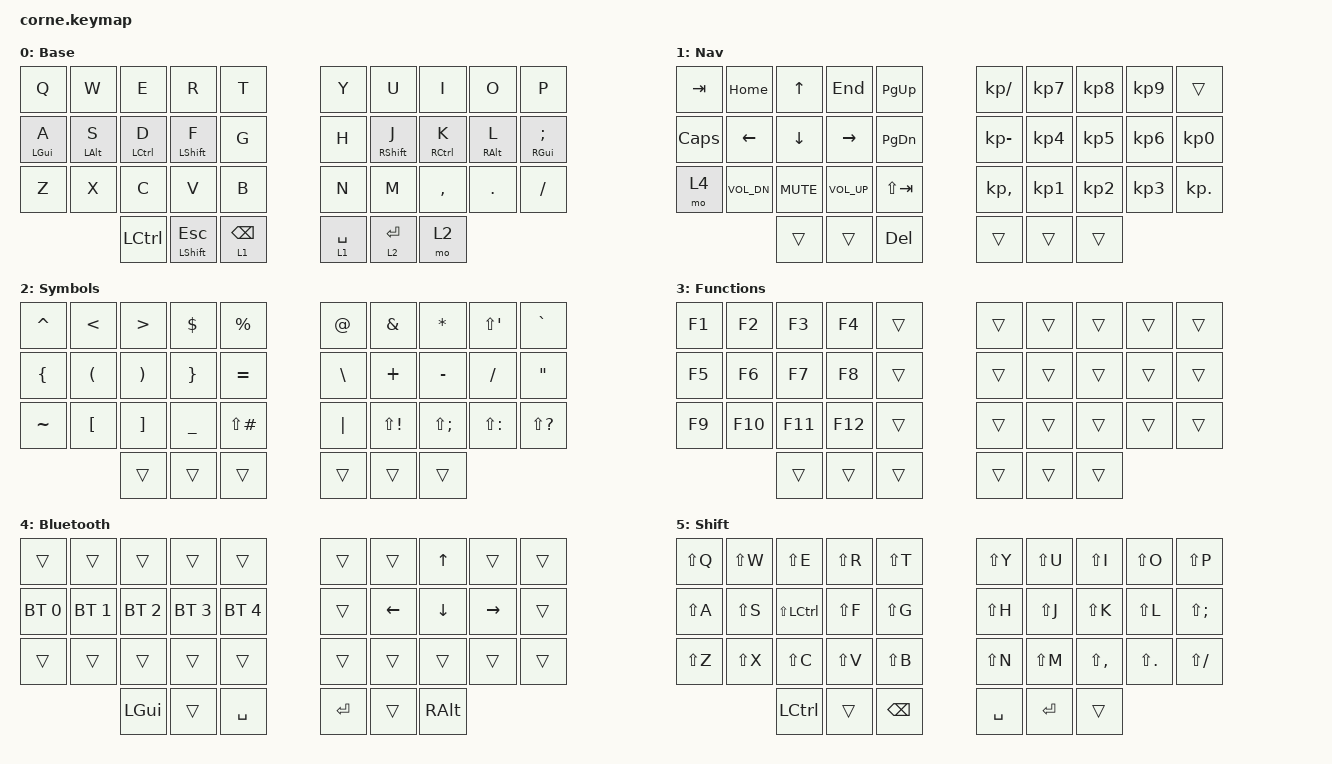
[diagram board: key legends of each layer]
/*
 * Copyright (c) 2020 The ZMK Contributors
 *
 * SPDX-License-Identifier: MIT
 */

#include <behaviors.dtsi>
#include <dt-bindings/zmk/bt.h>
#include <dt-bindings/zmk/keys.h>
#include "zmk-helpers/key-labels/36.h"                                      // Source key-labels.

/ {
    chosen {
      zmk,matrix_transform = &five_column_transform;
    };
    
    #define XXX &none
    #define ___ &trans
    #define KEYS_L LT0 LT1 LT2 LT3 LT4 LM0 LM1 LM2 LM3 LM4 LB0 LB1 LB2 LB3 LB4  // Left-hand keys.
    #define KEYS_R RT0 RT1 RT2 RT3 RT4 RM0 RM1 RM2 RM3 RM4 RB0 RB1 RB2 RB3 RB4  // Right-hand keys.
    #define THUMBS LH2 LH1 LH0 RH0 RH1 RH2                                      // Thumb keys.
    
/* Left-hand HRMs. */
ZMK_HOLD_TAP(hml,
    flavor = "balanced";
    tapping-term-ms = <280>;
    quick-tap-ms = <175>;
    require-prior-idle-ms = <150>;
    bindings = <&kp>, <&kp>;
    hold-trigger-key-positions = <KEYS_R THUMBS>;
    hold-trigger-on-release;
)

/* Right-hand HRMs. */
ZMK_HOLD_TAP(hmr,
    flavor = "balanced";
    tapping-term-ms = <280>;
    quick-tap-ms = <175>;
    require-prior-idle-ms = <150>;
    bindings = <&kp>, <&kp>;
    hold-trigger-key-positions = <KEYS_L THUMBS>;
    hold-trigger-on-release;
)

    behaviors {
        bhm: balanced_homerow_mods {
            compatible = "zmk,behavior-hold-tap";
            #binding-cells = <2>;
            tapping-term-ms = <200>;    // <---[[moderate duration]]
            quick-tap-ms = <0>;
            flavor = "balanced";
            bindings = <&kp>, <&kp>;
        };
    };

// Left-hand home row mods
#define HOME_A &hml LGUI A
#define HOME_S &hml LALT S
#define HOME_D &hml LCTRL D
#define HOME_F &hml LSHIFT F    // if used

// Right-hand home row mods
#define HOME_J &hmr RSHIFT J    // if used
#define HOME_K &hmr RCTRL K
#define HOME_L &hmr RALT L 
#define HOME_SMCLN &hmr RGUI SEMICOLON

// Left-hand thumbs
#define L_THUMB1 &kp LCTRL
#define L_THUMB2 &bhm LSHIFT ESC
#define L_THUMB3 &lt 1 BSPC

// Right-hand thumbs
#define R_THUMB1 &lt 1 SPACE
#define R_THUMB2 &lt 2 RET
#define R_THUMB3 &mo 2


        keymap {
                compatible = "zmk,keymap";

                default_layer {    // ---Layer 0---
                        display-name = "Base";
                        bindings = <
//╭─────────────┬─────────────┬─────────────┬─────────────┬─────────────╮ ╭─────────────┬─────────────┬─────────────┬─────────────┬─────────────╮
    &kp Q         &kp W         &kp E         &kp R         &kp T           &kp Y         &kp U         &kp I         &kp O         &kp P        
//├─────────────┼─────────────┼─────────────┼─────────────┼─────────────┤ ├─────────────┼─────────────┼─────────────┼─────────────┼─────────────┤
    HOME_A        HOME_S        HOME_D        HOME_F        &kp G           &kp H         HOME_J        HOME_K        HOME_L        HOME_SMCLN
//├─────────────┼─────────────┼─────────────┼─────────────┼─────────────┤ ├─────────────┼─────────────┼─────────────┼─────────────┼─────────────┤
    &kp Z         &kp X         &kp C         &kp V         &kp B           &kp N         &kp M         &kp COMMA     &kp DOT       &kp SLASH
//╰─────────────┼─────────────┴─────────────┼─────────────┼─────────────┤ ├─────────────┼─────────────┼─────────────┴───────────────────────────╯
                                L_THUMB1      L_THUMB2      L_THUMB3        R_THUMB1      R_THUMB2      R_THUMB3
//                            ╰─────────────┴─────────────┴─────────────╯ ╰─────────────┴─────────────┴─────────────╯
                        >;
                };

                nav_layer {    // ---Layer 1---
                        display-name = "Nav";
                        bindings = <
//╭─────────────┬─────────────┬─────────────┬─────────────┬─────────────╮ ╭─────────────┬─────────────┬─────────────┬─────────────┬─────────────╮
    &kp TAB       &kp HOME      &kp UP        &kp END       &kp PAGE_UP     &kp KP_DIVIDE &kp KP_N7     &kp KP_N8    &kp KP_N9      ___       
//├─────────────┼─────────────┼─────────────┼─────────────┼─────────────┤ ├─────────────┼─────────────┼─────────────┼─────────────┼─────────────┤
    &kp CAPS      &kp LEFT      &kp DOWN      &kp RIGHT     &kp PAGE_DOWN   &kp KP_SUBTRACT &kp KP_N4   &kp KP_N5     &kp KP_N6  &kp KP_N0     
//├─────────────┼─────────────┼─────────────┼─────────────┼─────────────┤ ├─────────────┼─────────────┼─────────────┼─────────────┼─────────────┤
    &mo 4         &kp K_VOL_DN  &kp K_MUTE    &kp K_VOL_UP  &kp LS(TAB)     &kp KP_COMMA  &kp KP_N1     &kp KP_N2     &kp KP_N3     &kp KP_DOT    
//╰─────────────┼─────────────┴─────────────┼─────────────┼─────────────┤ ├─────────────┼─────────────┼─────────────┴───────────────────────────╯
                                ___           ___           &kp DELETE      ___           ___           ___          
//                            ╰─────────────┴─────────────┴─────────────╯ ╰─────────────┴─────────────┴─────────────╯
                        >;
                };

                symbols_layer {    // ---Layer 2---
                        display-name = "Symbols";
                        bindings = <
//╭─────────────┬─────────────┬─────────────┬─────────────┬─────────────╮ ╭─────────────┬─────────────┬─────────────┬─────────────┬─────────────╮
    &kp CARET   &kp LESS_THAN &kp GREATER_THAN &kp DOLLAR   &kp PERCENT     &kp AT        &kp AMPS      &kp STAR      &kp LS(APOS)  &kp GRAVE
//├─────────────┼─────────────┼─────────────┼─────────────┼─────────────┤ ├─────────────┼─────────────┼─────────────┼─────────────┼─────────────┤
    &kp LBRC      &kp LPAR      &kp RPAR      &kp RIGHT_BRACE &kp EQUAL     &kp BSLH      &kp PLUS      &kp MINUS     &kp FSLH      &kp DQT
//├─────────────┼─────────────┼─────────────┼─────────────┼─────────────┤ ├─────────────┼─────────────┼─────────────┼─────────────┼─────────────┤
    &kp TILDE     &kp LBKT      &kp RBKT      &kp UNDER     &kp LS(POUND)  &kp PIPE       &kp LS(EXCL)  &kp LS(SEMI)  &kp LS(COLON) &kp LS(QMARK)
//╰─────────────┼─────────────┴─────────────┼─────────────┼─────────────┤ ├─────────────┼─────────────┼─────────────┴───────────────────────────╯
                                ___           ___           ___             ___           ___           ___          
//                            ╰─────────────┴─────────────┴─────────────╯ ╰─────────────┴─────────────┴─────────────╯
                        >;
                };

                function_layer {    // ---Layer 3---
                        display-name = "Functions";
                        bindings = <
//╭─────────────┬─────────────┬─────────────┬─────────────┬─────────────╮ ╭─────────────┬─────────────┬─────────────┬─────────────┬─────────────╮
    &kp F1        &kp F2        &kp F3        &kp F4        ___             ___           ___           ___           ___           ___
//├─────────────┼─────────────┼─────────────┼─────────────┼─────────────┤ ├─────────────┼─────────────┼─────────────┼─────────────┼─────────────┤
    &kp F5        &kp F6        &kp F7        &kp F8        ___             ___           ___           ___           ___           ___
//├─────────────┼─────────────┼─────────────┼─────────────┼─────────────┤ ├─────────────┼─────────────┼─────────────┼─────────────┼─────────────┤
    &kp F9        &kp F10       &kp F11       &kp F12       ___             ___           ___           ___           ___           ___
//╰─────────────┼─────────────┴─────────────┼─────────────┼─────────────┤ ├─────────────┼─────────────┼─────────────┴───────────────────────────╯
                                ___           ___           ___             ___           ___           ___          
//                            ╰─────────────┴─────────────┴─────────────╯ ╰─────────────┴─────────────┴─────────────╯
                        >;
                };

                bluetooth_layer {    // ---Layer 4---
                        display-name = "Bluetooth";
                        bindings = <
//╭─────────────┬─────────────┬─────────────┬─────────────┬─────────────╮ ╭─────────────┬─────────────┬─────────────┬─────────────┬─────────────╮
    ___             ___           ___           ___           ___           ___           ___           &kp UP        ___           ___
//├─────────────┼─────────────┼─────────────┼─────────────┼─────────────┤ ├─────────────┼─────────────┼─────────────┼─────────────┼─────────────┤
    &bt BT_SEL 0  &bt BT_SEL 1  &bt BT_SEL 2  &bt BT_SEL 3  &bt BT_SEL 4    ___           &kp LEFT      &kp DOWN      &kp RIGHT     ___
//├─────────────┼─────────────┼─────────────┼─────────────┼─────────────┤ ├─────────────┼─────────────┼─────────────┼─────────────┼─────────────┤
    ___           ___           ___           ___            ___            ___           ___           ___           ___           ___
//╰─────────────┼─────────────┴─────────────┼─────────────┼─────────────┤ ├─────────────┼─────────────┼─────────────┴───────────────────────────╯
                                &kp LGUI      ___           &kp SPACE       &kp RET       ___           &kp RALT   
//                            ╰─────────────┴─────────────┴─────────────╯ ╰─────────────┴─────────────┴─────────────╯
                        >;
                };

                shift_layer {    // ---Layer 5---
                        display-name = "Shift";
                        bindings = <
//╭─────────────┬─────────────┬─────────────┬─────────────┬─────────────╮ ╭─────────────┬─────────────┬─────────────┬─────────────┬─────────────╮
    &kp LS(Q)     &kp LS(W)     &kp LS(E)     &kp LS(R)     &kp LS(T)       &kp LS(Y)     &kp LS(U)     &kp LS(I)     &kp LS(O)     &kp LS(P)
//├─────────────┼─────────────┼─────────────┼─────────────┼─────────────┤ ├─────────────┼─────────────┼─────────────┼─────────────┼─────────────┤
    &kp LS(A)     &kp LS(S)     &kp LS(LCTRL) &kp LS(F)     &kp LS(G)       &kp LS(H)     &kp LS(J)     &kp LS(K)     &kp LS(L)     &kp LS(SEMICOLON)
//├─────────────┼─────────────┼─────────────┼─────────────┼─────────────┤ ├─────────────┼─────────────┼─────────────┼─────────────┼─────────────┤
    &kp LS(Z)     &kp LS(X)     &kp LS(C)     &kp LS(V)     &kp LS(B)       &kp LS(N)     &kp LS(M)     &kp LS(COMMA) &kp LS(DOT)   &kp LS(SLASH)
//╰─────────────┼─────────────┴─────────────┼─────────────┼─────────────┤ ├─────────────┼─────────────┼─────────────┴───────────────────────────╯
                                &kp LCTRL     ___           &kp BSPC        &kp SPACE     &kp RET       ___
//                            ╰─────────────┴─────────────┴─────────────╯ ╰─────────────┴─────────────┴─────────────╯
                        >;
                };

        };
};
